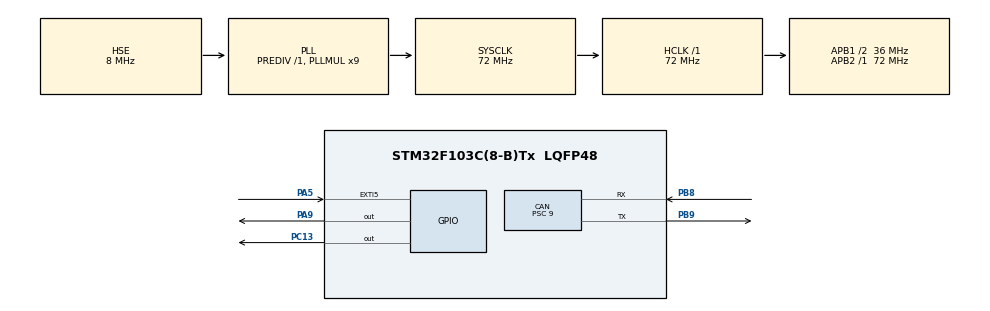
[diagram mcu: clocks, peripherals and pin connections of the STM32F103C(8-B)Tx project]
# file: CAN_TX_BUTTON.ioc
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CAN.BS1=CAN_BS1_10TQ
CAN.BS2=CAN_BS2_5TQ
CAN.CalculateBaudRate=250000
CAN.CalculateTimeBit=4000
CAN.CalculateTimeQuantum=250.0
CAN.Prescaler=9
Mcu.Family=STM32F1
Mcu.Name=STM32F103C(8-B)Tx
Mcu.Package=LQFP48
NVIC.CAN1_RX1_IRQn=true\:0\:0\:false\:false\:true\:true\:true\:true
NVIC.EXTI9_5_IRQn=true\:0\:0\:false\:false\:true\:true\:true\:true
NVIC.PriorityGroup=NVIC_PRIORITYGROUP_4
PA13.Mode=Serial_Wire
PA13.Signal=SYS_JTMS-SWDIO
PA14.Mode=Serial_Wire
PA14.Signal=SYS_JTCK-SWCLK
PA5.Signal=GPXTI5
PA9.Signal=GPIO_Output
PB8.Mode=CAN_Activate
PB8.Signal=CAN_RX
PB9.Mode=CAN_Activate
PB9.Signal=CAN_TX
PC13-TAMPER-RTC.Signal=GPIO_Output
PD0-OSC_IN.Mode=HSE-External-Oscillator
PD0-OSC_IN.Signal=RCC_OSC_IN
PD1-OSC_OUT.Mode=HSE-External-Oscillator
PD1-OSC_OUT.Signal=RCC_OSC_OUT
ProjectManager.HeapSize=0x200
ProjectManager.StackSize=0x400
ProjectManager.TargetToolchain=STM32CubeIDE
RCC.AHBFreq_Value=72000000
RCC.APB1CLKDivider=RCC_HCLK_DIV2
RCC.APB1Freq_Value=36000000
RCC.APB1TimFreq_Value=72000000
RCC.APB2Freq_Value=72000000
RCC.APB2TimFreq_Value=72000000
RCC.HCLKFreq_Value=72000000
RCC.PLLMUL=RCC_PLL_MUL9
RCC.PLLSourceVirtual=RCC_PLLSOURCE_HSE
RCC.SYSCLKFreq_VALUE=72000000
RCC.SYSCLKSource=RCC_SYSCLKSOURCE_PLLCLK
RCC.USBFreq_Value=72000000
board=custom

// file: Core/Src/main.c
/* USER CODE BEGIN Header */
/**
  ******************************************************************************
  * @file           : main.c
  * @brief          : Main program body
  ******************************************************************************
  * @attention
  *
  * Copyright (c) 2024 STMicroelectronics.
  * All rights reserved.
  *
  * This software is licensed under terms that can be found in the LICENSE file
  * in the root directory of this software component.
  * If no LICENSE file comes with this software, it is provided AS-IS.
  *
  ******************************************************************************
  */
/* USER CODE END Header */
#include "main.h"

CAN_HandleTypeDef hcan;

void SystemClock_Config(void);
static void MX_GPIO_Init(void);
static void MX_CAN_Init(void);

/* USER CODE BEGIN 0 */
CAN_TxHeaderTypeDef TxHeader;
CAN_RxHeaderTypeDef RxHeader;

uint8_t TxData[8];
uint8_t RxData[8];

uint32_t TxMailbox;

int datacheck=0;

void HAL_GPIO_EXTI_Callback(uint16_t GPIO_Pin)
{

	if(GPIO_Pin == GPIO_PIN_5)
	{
		TxData[0]=100;
		TxData[1]=10;

		HAL_CAN_AddTxMessage(&hcan, &TxHeader, TxData, &TxMailbox);

}
}

void HAL_CAN_RxFifo0MsgPendingCallback(CAN_HandleTypeDef *hcan)
{
	//HAL_GPIO_WritePin(GPIOA, GPIO_PIN_9, GPIO_PIN_SET);
	HAL_CAN_GetRxMessage(hcan, CAN_RX_FIFO0, &RxHeader, RxData);

 if(RxHeader.DLC==2)
 {
	 datacheck=1;

 }
}
/* USER CODE END 0 */

int main(void)
{

  /* MCU Configuration--------------------------------------------------------*/

  /* Reset of all peripherals, Initializes the Flash interface and the Systick. */
  HAL_Init();

  /* Configure the system clock */
  SystemClock_Config();

  /* Initialize all configured peripherals */
  MX_GPIO_Init();
  MX_CAN_Init();
  /* USER CODE BEGIN 2 */

HAL_CAN_Start(&hcan);

HAL_CAN_ActivateNotification(&hcan, CAN_IT_RX_FIFO0_MSG_PENDING);

TxHeader.DLC=2;
TxHeader.IDE = CAN_ID_STD;
TxHeader.RTR = CAN_RTR_DATA;
TxHeader.StdId = 0x103;

/* USER CODE END 2 */

  /* Infinite loop */
  while (1)
  {
	  if(datacheck)
	{
            for(int i=0; i<RxData[1];i++)
		 	{
		    HAL_GPIO_TogglePin(GPIOC,GPIO_PIN_13);
		 	HAL_Delay(RxData[0]);
		 	}

		 	datacheck=0;

		}

  }
  /* USER CODE END 3 */
}

void SystemClock_Config(void)
{
  RCC_OscInitTypeDef RCC_OscInitStruct = {0};
  RCC_ClkInitTypeDef RCC_ClkInitStruct = {0};

  /** Initializes the RCC Oscillators according to the specified parameters
  * in the RCC_OscInitTypeDef structure.
  */
  RCC_OscInitStruct.OscillatorType = RCC_OSCILLATORTYPE_HSE;
  RCC_OscInitStruct.HSEState = RCC_HSE_ON;
  RCC_OscInitStruct.HSEPredivValue = RCC_HSE_PREDIV_DIV1;
  RCC_OscInitStruct.HSIState = RCC_HSI_ON;
  RCC_OscInitStruct.PLL.PLLState = RCC_PLL_ON;
  RCC_OscInitStruct.PLL.PLLSource = RCC_PLLSOURCE_HSE;
  RCC_OscInitStruct.PLL.PLLMUL = RCC_PLL_MUL9;
  if (HAL_RCC_OscConfig(&RCC_OscInitStruct) != HAL_OK)
  {
    Error_Handler();
  }

  /** Initializes the CPU, AHB and APB buses clocks
  */
  RCC_ClkInitStruct.ClockType = RCC_CLOCKTYPE_HCLK|RCC_CLOCKTYPE_SYSCLK
                              |RCC_CLOCKTYPE_PCLK1|RCC_CLOCKTYPE_PCLK2;
  RCC_ClkInitStruct.SYSCLKSource = RCC_SYSCLKSOURCE_PLLCLK;
  RCC_ClkInitStruct.AHBCLKDivider = RCC_SYSCLK_DIV1;
  RCC_ClkInitStruct.APB1CLKDivider = RCC_HCLK_DIV2;
  RCC_ClkInitStruct.APB2CLKDivider = RCC_HCLK_DIV1;

  if (HAL_RCC_ClockConfig(&RCC_ClkInitStruct, FLASH_LATENCY_2) != HAL_OK)
  {
    Error_Handler();
  }
}

static void MX_CAN_Init(void)
{

  hcan.Instance = CAN1;
  hcan.Init.Prescaler = 9;
  hcan.Init.Mode = CAN_MODE_NORMAL;
  hcan.Init.SyncJumpWidth = CAN_SJW_1TQ;
  hcan.Init.TimeSeg1 = CAN_BS1_10TQ;
  hcan.Init.TimeSeg2 = CAN_BS2_5TQ;
  hcan.Init.TimeTriggeredMode = DISABLE;
  hcan.Init.AutoBusOff = DISABLE;
  hcan.Init.AutoWakeUp = DISABLE;
  hcan.Init.AutoRetransmission = DISABLE;
  hcan.Init.ReceiveFifoLocked = DISABLE;
  hcan.Init.TransmitFifoPriority = DISABLE;
  if (HAL_CAN_Init(&hcan) != HAL_OK)
  {
    Error_Handler();
  }
  /* USER CODE BEGIN CAN_Init 2 */

  CAN_FilterTypeDef canfilterconfig;

  canfilterconfig.FilterActivation= CAN_FILTER_ENABLE;
  canfilterconfig.FilterBank=18;
  canfilterconfig.FilterFIFOAssignment=CAN_FILTER_FIFO0;
  canfilterconfig.FilterIdHigh=0x103<<5;
  canfilterconfig.FilterIdLow=0;
  canfilterconfig.FilterMaskIdHigh=0x103<<5;
  canfilterconfig.FilterMaskIdLow=0x0000;
  canfilterconfig.FilterMode=CAN_FILTERMODE_IDMASK;
  canfilterconfig.FilterScale= CAN_FILTERSCALE_32BIT;
  canfilterconfig.SlaveStartFilterBank=20;

  HAL_CAN_ConfigFilter(&hcan, &canfilterconfig);

  /* USER CODE END CAN_Init 2 */

}

static void MX_GPIO_Init(void)
{
  GPIO_InitTypeDef GPIO_InitStruct = {0};

  /* GPIO Ports Clock Enable */
  __HAL_RCC_GPIOC_CLK_ENABLE();
  __HAL_RCC_GPIOD_CLK_ENABLE();
  __HAL_RCC_GPIOA_CLK_ENABLE();
  __HAL_RCC_GPIOB_CLK_ENABLE();

  /*Configure GPIO pin Output Level */
  HAL_GPIO_WritePin(GPIOC, GPIO_PIN_13, GPIO_PIN_RESET);

  /*Configure GPIO pin Output Level */
  HAL_GPIO_WritePin(GPIOA, GPIO_PIN_9, GPIO_PIN_RESET);

  /*Configure GPIO pin : PC13 */
  GPIO_InitStruct.Pin = GPIO_PIN_13;
  GPIO_InitStruct.Mode = GPIO_MODE_OUTPUT_PP;
  GPIO_InitStruct.Pull = GPIO_NOPULL;
  GPIO_InitStruct.Speed = GPIO_SPEED_FREQ_LOW;
  HAL_GPIO_Init(GPIOC, &GPIO_InitStruct);

  /*Configure GPIO pin : PA5 */
  GPIO_InitStruct.Pin = GPIO_PIN_5;
  GPIO_InitStruct.Mode = GPIO_MODE_IT_RISING;
  GPIO_InitStruct.Pull = GPIO_NOPULL;
  HAL_GPIO_Init(GPIOA, &GPIO_InitStruct);

  /*Configure GPIO pin : PA9 */
  GPIO_InitStruct.Pin = GPIO_PIN_9;
  GPIO_InitStruct.Mode = GPIO_MODE_OUTPUT_PP;
  GPIO_InitStruct.Pull = GPIO_NOPULL;
  GPIO_InitStruct.Speed = GPIO_SPEED_FREQ_LOW;
  HAL_GPIO_Init(GPIOA, &GPIO_InitStruct);

  /* EXTI interrupt init*/
  HAL_NVIC_SetPriority(EXTI9_5_IRQn, 0, 0);
  HAL_NVIC_EnableIRQ(EXTI9_5_IRQn);

}

void Error_Handler(void)
{
  __disable_irq();
  while (1)
  {
  }
}
